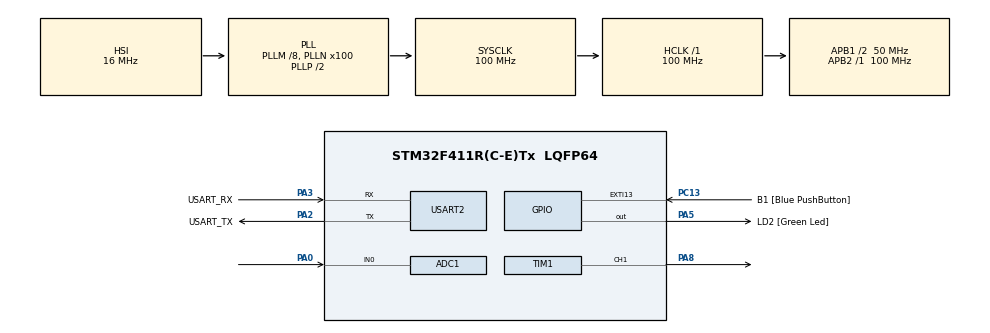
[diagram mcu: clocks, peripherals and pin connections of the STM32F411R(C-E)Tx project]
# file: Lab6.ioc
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ADC1.Channel-0\#ChannelRegularConversion=ADC_CHANNEL_0
ADC1.ExternalTrigConv=ADC_EXTERNALTRIGCONV_T3_TRGO
ADC1.NbrOfConversionFlag=1
ADC1.Rank-0\#ChannelRegularConversion=1
ADC1.SamplingTime-0\#ChannelRegularConversion=ADC_SAMPLETIME_56CYCLES
ADC1.master=1
Mcu.Family=STM32F4
Mcu.Name=STM32F411R(C-E)Tx
Mcu.Package=LQFP64
NVIC.ADC_IRQn=true\:0\:0\:false\:false\:true\:true\:true
NVIC.PriorityGroup=NVIC_PRIORITYGROUP_0
NVIC.TIM1_TRG_COM_TIM11_IRQn=true\:0\:0\:false\:false\:true\:true\:true
PA0-WKUP.Signal=ADCx_IN0
PA13.GPIO_Label=TMS
PA13.Mode=Serial_Wire
PA13.Signal=SYS_JTMS-SWDIO
PA14.GPIO_Label=TCK
PA14.Mode=Serial_Wire
PA14.Signal=SYS_JTCK-SWCLK
PA2.GPIO_Label=USART_TX
PA2.Mode=Asynchronous
PA2.Signal=USART2_TX
PA3.GPIO_Label=USART_RX
PA3.Mode=Asynchronous
PA3.Signal=USART2_RX
PA5.GPIO_Label=LD2 [Green Led]
PA5.Signal=GPIO_Output
PA8.Signal=S_TIM1_CH1
PB3.GPIO_Label=SWO
PB3.Signal=SYS_JTDO-SWO
PC13-ANTI_TAMP.GPIO_Label=B1 [Blue PushButton]
PC13-ANTI_TAMP.GPIO_ModeDefaultEXTI=GPIO_MODE_IT_FALLING
PC13-ANTI_TAMP.Signal=GPXTI13
PC14-OSC32_IN.Mode=LSE-External-Oscillator
PC14-OSC32_IN.Signal=RCC_OSC32_IN
PC15-OSC32_OUT.Mode=LSE-External-Oscillator
PC15-OSC32_OUT.Signal=RCC_OSC32_OUT
PH0\ -\ OSC_IN.Mode=HSE-External-Clock-Source
PH0\ -\ OSC_IN.Signal=RCC_OSC_IN
PH1\ -\ OSC_OUT.Mode=HSE-External-Clock-Source
PH1\ -\ OSC_OUT.Signal=RCC_OSC_OUT
ProjectManager.HeapSize=0x200
ProjectManager.StackSize=0x400
ProjectManager.TargetToolchain=STM32CubeIDE
RCC.48MHZClocksFreq_Value=50000000
RCC.AHBFreq_Value=100000000
RCC.APB1CLKDivider=RCC_HCLK_DIV2
RCC.APB1Freq_Value=50000000
RCC.APB1TimFreq_Value=100000000
RCC.APB2Freq_Value=100000000
RCC.APB2TimFreq_Value=100000000
RCC.CortexFreq_Value=100000000
RCC.FLatency-AdvancedSettings=FLASH_LATENCY_3
RCC.HCLKFreq_Value=100000000
RCC.HSE_VALUE=8000000
RCC.HSI_VALUE=16000000
RCC.PLLM=8
RCC.PLLN=100
RCC.SYSCLKFreq_VALUE=100000000
RCC.SYSCLKSource=RCC_SYSCLKSOURCE_PLLCLK
RCC.VCOOutputFreq_Value=200000000
SH.ADCx_IN0.0=ADC1_IN0,IN0
SH.S_TIM1_CH1.0=TIM1_CH1,PWM Generation1 CH1
TIM1.Channel-PWM\ Generation1\ CH1=TIM_CHANNEL_1
TIM1.Period=10000
TIM1.Prescaler=0
TIM1.Pulse-PWM\ Generation1\ CH1=5000
TIM11.Prescaler=99
TIM3.Period=1000
TIM3.Prescaler=99
TIM3.TIM_MasterOutputTrigger=TIM_TRGO_UPDATE
USART2.VirtualMode=VM_ASYNC
VP_TIM11_VS_ClockSourceINT.Mode=Enable_Timer
VP_TIM1_VS_ClockSourceINT.Mode=Internal
VP_TIM3_VS_ClockSourceINT.Mode=Internal
board=NUCLEO-F411RE

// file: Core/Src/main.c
/* USER CODE BEGIN Header */
/**
 ******************************************************************************
 * @file           : main.c
 * @brief          : Main program body
 ******************************************************************************
 * @attention
 *
 * <h2><center>&copy; Copyright (c) 2021 STMicroelectronics.
 * All rights reserved.</center></h2>
 *
 * This software component is licensed by ST under BSD 3-Clause license,
 * the "License"; You may not use this file except in compliance with the
 * License. You may obtain a copy of the License at:
 *                        opensource.org/licenses/BSD-3-Clause
 *
 ******************************************************************************
 */
/* USER CODE END Header */
#include "main.h"

ADC_HandleTypeDef hadc1;

TIM_HandleTypeDef htim1;
TIM_HandleTypeDef htim3;
TIM_HandleTypeDef htim11;

UART_HandleTypeDef huart2;

/* USER CODE BEGIN PV */

uint8_t ADCUpdateFlag = 0;
uint16_t ADCFeedBack = 0;

uint16_t PWMOut = 5000;

uint64_t _micro = 0;
uint64_t TimeOutputLoop = 0;
uint16_t a = 0;
float duty = 0;
float i = 2;
float Voltage = 0;

/* USER CODE END PV */

void SystemClock_Config(void);
static void MX_GPIO_Init(void);
static void MX_USART2_UART_Init(void);
static void MX_ADC1_Init(void);
static void MX_TIM1_Init(void);
static void MX_TIM3_Init(void);
static void MX_TIM11_Init(void);
/* USER CODE BEGIN PFP */
uint64_t micros();
/* USER CODE END PFP */

int main(void)
{

  /* MCU Configuration--------------------------------------------------------*/

  /* Reset of all peripherals, Initializes the Flash interface and the Systick. */
  HAL_Init();

  /* Configure the system clock */
  SystemClock_Config();

  /* Initialize all configured peripherals */
  MX_GPIO_Init();
  MX_USART2_UART_Init();
  MX_ADC1_Init();
  MX_TIM1_Init();
  MX_TIM3_Init();
  MX_TIM11_Init();
  /* USER CODE BEGIN 2 */
	HAL_ADC_Start_IT(&hadc1);
	HAL_TIM_Base_Start(&htim3);

	HAL_TIM_Base_Start(&htim1);
	HAL_TIM_PWM_Start(&htim1, TIM_CHANNEL_1);

	HAL_TIM_Base_Start_IT(&htim11);

  /* USER CODE END 2 */

  /* Infinite loop */
	while (1) {

    /* USER CODE BEGIN 3 */

		//1 Khz Loop
		if (micros() - TimeOutputLoop > 1000) {
			TimeOutputLoop = micros();
			Voltage = (ADCFeedBack*3.3*PWMOut)/(4096*10000);
			PWMOut = (1*4096*10000)/(ADCFeedBack*3.3);

			// #001

			__HAL_TIM_SET_COMPARE(&htim1, TIM_CHANNEL_1, PWMOut);

		}

		if (ADCUpdateFlag) {
			ADCUpdateFlag = 0;
			//#002
		}

	}
  /* USER CODE END 3 */
}

void SystemClock_Config(void)
{
  RCC_OscInitTypeDef RCC_OscInitStruct = {0};
  RCC_ClkInitTypeDef RCC_ClkInitStruct = {0};

  /** Configure the main internal regulator output voltage
  */
  __HAL_RCC_PWR_CLK_ENABLE();
  __HAL_PWR_VOLTAGESCALING_CONFIG(PWR_REGULATOR_VOLTAGE_SCALE1);
  /** Initializes the RCC Oscillators according to the specified parameters
  * in the RCC_OscInitTypeDef structure.
  */
  RCC_OscInitStruct.OscillatorType = RCC_OSCILLATORTYPE_HSI;
  RCC_OscInitStruct.HSIState = RCC_HSI_ON;
  RCC_OscInitStruct.HSICalibrationValue = RCC_HSICALIBRATION_DEFAULT;
  RCC_OscInitStruct.PLL.PLLState = RCC_PLL_ON;
  RCC_OscInitStruct.PLL.PLLSource = RCC_PLLSOURCE_HSI;
  RCC_OscInitStruct.PLL.PLLM = 8;
  RCC_OscInitStruct.PLL.PLLN = 100;
  RCC_OscInitStruct.PLL.PLLP = RCC_PLLP_DIV2;
  RCC_OscInitStruct.PLL.PLLQ = 4;
  if (HAL_RCC_OscConfig(&RCC_OscInitStruct) != HAL_OK)
  {
    Error_Handler();
  }
  /** Initializes the CPU, AHB and APB buses clocks
  */
  RCC_ClkInitStruct.ClockType = RCC_CLOCKTYPE_HCLK|RCC_CLOCKTYPE_SYSCLK
                              |RCC_CLOCKTYPE_PCLK1|RCC_CLOCKTYPE_PCLK2;
  RCC_ClkInitStruct.SYSCLKSource = RCC_SYSCLKSOURCE_PLLCLK;
  RCC_ClkInitStruct.AHBCLKDivider = RCC_SYSCLK_DIV1;
  RCC_ClkInitStruct.APB1CLKDivider = RCC_HCLK_DIV2;
  RCC_ClkInitStruct.APB2CLKDivider = RCC_HCLK_DIV1;

  if (HAL_RCC_ClockConfig(&RCC_ClkInitStruct, FLASH_LATENCY_3) != HAL_OK)
  {
    Error_Handler();
  }
}

static void MX_ADC1_Init(void)
{

  ADC_ChannelConfTypeDef sConfig = {0};

  /** Configure the global features of the ADC (Clock, Resolution, Data Alignment and number of conversion)
  */
  hadc1.Instance = ADC1;
  hadc1.Init.ClockPrescaler = ADC_CLOCK_SYNC_PCLK_DIV4;
  hadc1.Init.Resolution = ADC_RESOLUTION_12B;
  hadc1.Init.ScanConvMode = DISABLE;
  hadc1.Init.ContinuousConvMode = DISABLE;
  hadc1.Init.DiscontinuousConvMode = DISABLE;
  hadc1.Init.ExternalTrigConvEdge = ADC_EXTERNALTRIGCONVEDGE_RISING;
  hadc1.Init.ExternalTrigConv = ADC_EXTERNALTRIGCONV_T3_TRGO;
  hadc1.Init.DataAlign = ADC_DATAALIGN_RIGHT;
  hadc1.Init.NbrOfConversion = 1;
  hadc1.Init.DMAContinuousRequests = DISABLE;
  hadc1.Init.EOCSelection = ADC_EOC_SINGLE_CONV;
  if (HAL_ADC_Init(&hadc1) != HAL_OK)
  {
    Error_Handler();
  }
  /** Configure for the selected ADC regular channel its corresponding rank in the sequencer and its sample time.
  */
  sConfig.Channel = ADC_CHANNEL_0;
  sConfig.Rank = 1;
  sConfig.SamplingTime = ADC_SAMPLETIME_56CYCLES;
  if (HAL_ADC_ConfigChannel(&hadc1, &sConfig) != HAL_OK)
  {
    Error_Handler();
  }

}

static void MX_TIM1_Init(void)
{

  TIM_ClockConfigTypeDef sClockSourceConfig = {0};
  TIM_MasterConfigTypeDef sMasterConfig = {0};
  TIM_OC_InitTypeDef sConfigOC = {0};
  TIM_BreakDeadTimeConfigTypeDef sBreakDeadTimeConfig = {0};

  htim1.Instance = TIM1;
  htim1.Init.Prescaler = 0;
  htim1.Init.CounterMode = TIM_COUNTERMODE_UP;
  htim1.Init.Period = 10000;
  htim1.Init.ClockDivision = TIM_CLOCKDIVISION_DIV1;
  htim1.Init.RepetitionCounter = 0;
  htim1.Init.AutoReloadPreload = TIM_AUTORELOAD_PRELOAD_DISABLE;
  if (HAL_TIM_Base_Init(&htim1) != HAL_OK)
  {
    Error_Handler();
  }
  sClockSourceConfig.ClockSource = TIM_CLOCKSOURCE_INTERNAL;
  if (HAL_TIM_ConfigClockSource(&htim1, &sClockSourceConfig) != HAL_OK)
  {
    Error_Handler();
  }
  if (HAL_TIM_PWM_Init(&htim1) != HAL_OK)
  {
    Error_Handler();
  }
  sMasterConfig.MasterOutputTrigger = TIM_TRGO_RESET;
  sMasterConfig.MasterSlaveMode = TIM_MASTERSLAVEMODE_DISABLE;
  if (HAL_TIMEx_MasterConfigSynchronization(&htim1, &sMasterConfig) != HAL_OK)
  {
    Error_Handler();
  }
  sConfigOC.OCMode = TIM_OCMODE_PWM1;
  sConfigOC.Pulse = 5000;
  sConfigOC.OCPolarity = TIM_OCPOLARITY_HIGH;
  sConfigOC.OCNPolarity = TIM_OCNPOLARITY_HIGH;
  sConfigOC.OCFastMode = TIM_OCFAST_DISABLE;
  sConfigOC.OCIdleState = TIM_OCIDLESTATE_RESET;
  sConfigOC.OCNIdleState = TIM_OCNIDLESTATE_RESET;
  if (HAL_TIM_PWM_ConfigChannel(&htim1, &sConfigOC, TIM_CHANNEL_1) != HAL_OK)
  {
    Error_Handler();
  }
  sBreakDeadTimeConfig.OffStateRunMode = TIM_OSSR_DISABLE;
  sBreakDeadTimeConfig.OffStateIDLEMode = TIM_OSSI_DISABLE;
  sBreakDeadTimeConfig.LockLevel = TIM_LOCKLEVEL_OFF;
  sBreakDeadTimeConfig.DeadTime = 0;
  sBreakDeadTimeConfig.BreakState = TIM_BREAK_DISABLE;
  sBreakDeadTimeConfig.BreakPolarity = TIM_BREAKPOLARITY_HIGH;
  sBreakDeadTimeConfig.AutomaticOutput = TIM_AUTOMATICOUTPUT_DISABLE;
  if (HAL_TIMEx_ConfigBreakDeadTime(&htim1, &sBreakDeadTimeConfig) != HAL_OK)
  {
    Error_Handler();
  }
  HAL_TIM_MspPostInit(&htim1);

}

static void MX_TIM3_Init(void)
{

  TIM_ClockConfigTypeDef sClockSourceConfig = {0};
  TIM_MasterConfigTypeDef sMasterConfig = {0};

  htim3.Instance = TIM3;
  htim3.Init.Prescaler = 99;
  htim3.Init.CounterMode = TIM_COUNTERMODE_UP;
  htim3.Init.Period = 1000;
  htim3.Init.ClockDivision = TIM_CLOCKDIVISION_DIV1;
  htim3.Init.AutoReloadPreload = TIM_AUTORELOAD_PRELOAD_DISABLE;
  if (HAL_TIM_Base_Init(&htim3) != HAL_OK)
  {
    Error_Handler();
  }
  sClockSourceConfig.ClockSource = TIM_CLOCKSOURCE_INTERNAL;
  if (HAL_TIM_ConfigClockSource(&htim3, &sClockSourceConfig) != HAL_OK)
  {
    Error_Handler();
  }
  sMasterConfig.MasterOutputTrigger = TIM_TRGO_UPDATE;
  sMasterConfig.MasterSlaveMode = TIM_MASTERSLAVEMODE_DISABLE;
  if (HAL_TIMEx_MasterConfigSynchronization(&htim3, &sMasterConfig) != HAL_OK)
  {
    Error_Handler();
  }

}

static void MX_TIM11_Init(void)
{

  htim11.Instance = TIM11;
  htim11.Init.Prescaler = 99;
  htim11.Init.CounterMode = TIM_COUNTERMODE_UP;
  htim11.Init.Period = 65535;
  htim11.Init.ClockDivision = TIM_CLOCKDIVISION_DIV1;
  htim11.Init.AutoReloadPreload = TIM_AUTORELOAD_PRELOAD_DISABLE;
  if (HAL_TIM_Base_Init(&htim11) != HAL_OK)
  {
    Error_Handler();
  }

}

static void MX_USART2_UART_Init(void)
{

  huart2.Instance = USART2;
  huart2.Init.BaudRate = 115200;
  huart2.Init.WordLength = UART_WORDLENGTH_8B;
  huart2.Init.StopBits = UART_STOPBITS_1;
  huart2.Init.Parity = UART_PARITY_NONE;
  huart2.Init.Mode = UART_MODE_TX_RX;
  huart2.Init.HwFlowCtl = UART_HWCONTROL_NONE;
  huart2.Init.OverSampling = UART_OVERSAMPLING_16;
  if (HAL_UART_Init(&huart2) != HAL_OK)
  {
    Error_Handler();
  }

}

static void MX_GPIO_Init(void)
{
  GPIO_InitTypeDef GPIO_InitStruct = {0};

  /* GPIO Ports Clock Enable */
  __HAL_RCC_GPIOC_CLK_ENABLE();
  __HAL_RCC_GPIOH_CLK_ENABLE();
  __HAL_RCC_GPIOA_CLK_ENABLE();
  __HAL_RCC_GPIOB_CLK_ENABLE();

  /*Configure GPIO pin Output Level */
  HAL_GPIO_WritePin(LD2_GPIO_Port, LD2_Pin, GPIO_PIN_RESET);

  /*Configure GPIO pin : B1_Pin */
  GPIO_InitStruct.Pin = B1_Pin;
  GPIO_InitStruct.Mode = GPIO_MODE_IT_FALLING;
  GPIO_InitStruct.Pull = GPIO_NOPULL;
  HAL_GPIO_Init(B1_GPIO_Port, &GPIO_InitStruct);

  /*Configure GPIO pin : LD2_Pin */
  GPIO_InitStruct.Pin = LD2_Pin;
  GPIO_InitStruct.Mode = GPIO_MODE_OUTPUT_PP;
  GPIO_InitStruct.Pull = GPIO_NOPULL;
  GPIO_InitStruct.Speed = GPIO_SPEED_FREQ_LOW;
  HAL_GPIO_Init(LD2_GPIO_Port, &GPIO_InitStruct);

}

/* USER CODE BEGIN 4 */

void HAL_ADC_ConvCpltCallback(ADC_HandleTypeDef *hadc) {
	ADCFeedBack = HAL_ADC_GetValue(&hadc1);
	ADCUpdateFlag = 1;
}
void HAL_TIM_PeriodElapsedCallback(TIM_HandleTypeDef *htim) {
	if (htim == &htim11) {
		_micro += 65535;
	}
}

__inline__ uint64_t micros() {
	return _micro + htim11.Instance->CNT;
}
/* USER CODE END 4 */

void Error_Handler(void)
{
	__disable_irq();
	while (1) {
	}
}

/************************ (C) COPYRIGHT STMicroelectronics *****END OF FILE****/
